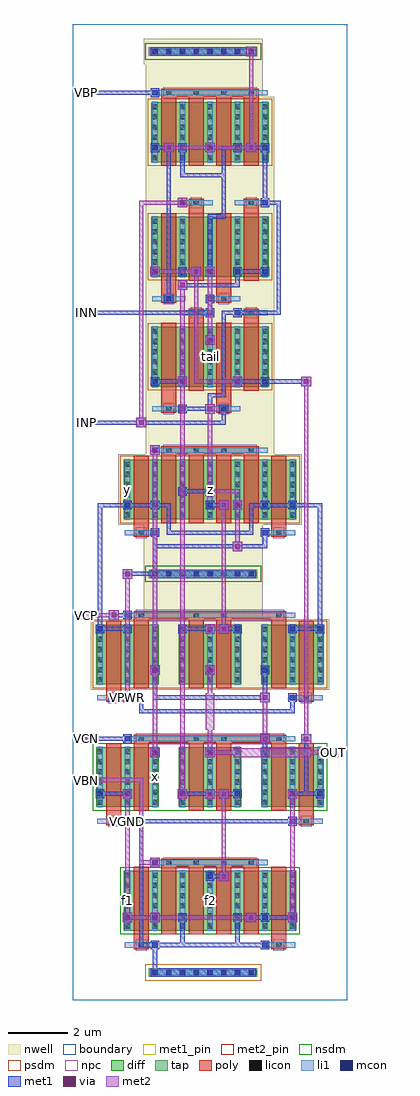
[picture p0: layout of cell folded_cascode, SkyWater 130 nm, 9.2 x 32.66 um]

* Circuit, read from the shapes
.subckt folded_cascode INN INP OUT VBN VBP VCN VCP VGND VPWR f1 f2 tail x y z
XM1 f1 VGND f1 VGND sky130_fd_pr__nfet_01v8 w=2 l=0.5 m=4
XM2 x VCN f1 VGND sky130_fd_pr__nfet_01v8 w=2 l=0.5 m=2
XM3 VGND VBN f1 VGND sky130_fd_pr__nfet_01v8 w=2 l=0.5 m=2
XM4 f2 VBN VGND VGND sky130_fd_pr__nfet_01v8 w=2 l=0.5 m=2
XM5 OUT VCN f2 VGND sky130_fd_pr__nfet_01v8 w=2 l=0.5 m=2
XM6 y VPWR y VPWR sky130_fd_pr__pfet_01v8 w=2 l=0.5 m=4
XM7 x VCP y VPWR sky130_fd_pr__pfet_01v8 w=2 l=0.5 m=2
XM8 VPWR x y VPWR sky130_fd_pr__pfet_01v8 w=2 l=0.5 m=2
XM9 f2 VPWR f2 VPWR sky130_fd_pr__pfet_01v8 w=2 l=0.5 m=2
XM10 f1 VPWR f1 VPWR sky130_fd_pr__pfet_01v8 w=2 l=0.5 m=2
XM11 tail VBP VPWR VPWR sky130_fd_pr__pfet_01v8 w=2 l=0.5 m=4
XM12 OUT VCP z VPWR sky130_fd_pr__pfet_01v8 w=2 l=0.5 m=2
XM13 z x VPWR VPWR sky130_fd_pr__pfet_01v8 w=2 l=0.5 m=2
XM14 tail INN f2 VPWR sky130_fd_pr__pfet_01v8 w=2 l=0.5 m=2
XM15 tail INP f1 VPWR sky130_fd_pr__pfet_01v8 w=2 l=0.5 m=2
.ends

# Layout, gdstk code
import gdstk
lib = gdstk.Library(unit=1e-6, precision=1e-09)
def R(c, l, rs):  # rectangles x0, y0, x1, y1
    for r in rs: c.add(gdstk.rectangle(r[:2], r[2:], *l))
def A(c, l, x, y, w, h, nx, ny, dx, dy):  # array of equal rectangles
    R(c, l, [(x+i*dx, y+j*dy, x+i*dx+w, y+j*dy+h) for i in range(nx) for j in range(ny)])
nwell = (64, 20)
diff = (65, 20)
tap = (65, 44)
poly = (66, 20)
licon = (66, 44)
li1 = (67, 20)
mcon = (67, 44)
met1_pin = (68, 16)
met1 = (68, 20)
via = (68, 44)
met2_pin = (69, 16)
met2 = (69, 20)
nsdm = (93, 44)
psdm = (94, 20)
npc = (95, 20)
boundary = (235, 4)

folded_cascode = lib.new_cell('folded_cascode')
R(folded_cascode, nwell, [(0.615,10.38,8.585,12.74), (2.375,12.74,6.365,15.9), (1.535,15.9,7.665,18.26), (2.455,18.26,6.745,30.22), (2.455,30.22,6.365,31.32), (2.375,31.32,6.365,32.16)])
A(folded_cascode, diff, 0.795, 6.465, 2.09, 2, 3, 2, 2.76, 4.095)
R(folded_cascode, diff, [(1.715,2.325,7.485,4.325), (1.715,16.08,7.485,18.08), (2.635,20.525,6.565,22.525), (2.635,24.205,6.565,26.205), (2.635,28.04,6.565,30.04)])
R(folded_cascode, tap, [(2.555,0.775,6.185,1.065), (2.555,14.115,6.185,14.405), (2.555,31.595,6.185,31.885)])
A(folded_cascode, poly, 2.97, 2.195, 0.5, 2.405, 4, 1, 0.92, 0)
A(folded_cascode, poly, 2.97, 15.95, 0.5, 2.45, 4, 2, 0.92, 11.96)
R(folded_cascode, poly, [(2.05,1.705,2.55,1.975), (6.65,1.705,7.15,1.975), (2.05,1.84,2.55,4.455), (6.65,1.84,7.15,4.455), (2.97,4.465,6.23,4.735), (1.13,5.845,1.63,6.115), (7.57,5.845,8.07,6.115), (1.13,5.98,1.63,8.595), (7.57,5.98,8.07,8.595), (2.05,6.335,2.55,8.74), (3.89,6.335,4.39,8.74), (4.81,6.335,5.31,8.74), (6.65,6.335,7.15,8.74), (2.05,8.605,7.15,8.875), (1.13,9.985,1.63,10.255), (7.57,9.985,8.07,10.255), (1.13,10.12,1.63,12.69), (7.57,10.12,8.07,12.69), (2.05,10.43,2.55,12.88), (3.89,10.43,4.39,12.88), (4.81,10.43,5.31,12.88), (6.65,10.43,7.15,12.88), (2.05,12.745,7.15,13.015), (2.05,15.505,2.55,15.775), (6.65,15.505,7.15,15.775), (2.05,15.64,2.55,18.21), (6.65,15.64,7.15,18.21), (2.97,18.265,6.23,18.535), (2.97,19.645,3.47,19.915), (4.81,19.645,5.31,19.915), (2.97,19.78,3.47,22.655), (4.81,19.78,5.31,22.655), (3.89,20.395,4.39,23), (5.73,20.395,6.23,23), (3.89,22.865,4.39,23.135), (5.73,22.865,6.23,23.135), (2.97,23.325,3.47,23.595), (4.81,23.325,5.31,23.595), (2.97,23.46,3.47,26.335), (4.81,23.46,5.31,26.335), (3.89,24.075,4.39,26.68), (5.73,24.075,6.23,26.68), (3.89,26.545,4.39,26.815), (5.73,26.545,6.23,26.815), (2.97,30.225,6.23,30.495)])
A(folded_cascode, licon, 2.675, 0.835, 0.17, 0.17, 8, 2, 0.46, 13.34)
A(folded_cascode, licon, 1.755, 2.39, 0.17, 0.17, 7, 6, 0.92, 0.34)
A(folded_cascode, licon, 3.135, 4.515, 0.17, 0.17, 4, 2, 0.92, 13.8)
A(folded_cascode, licon, 0.835, 6.53, 0.17, 0.17, 9, 6, 0.92, 0.34)
A(folded_cascode, licon, 0.835, 10.625, 0.17, 0.17, 9, 6, 0.92, 0.34)
A(folded_cascode, licon, 1.755, 16.145, 0.17, 0.17, 7, 6, 0.92, 0.34)
A(folded_cascode, licon, 2.675, 20.59, 0.17, 0.17, 5, 6, 0.92, 0.34)
A(folded_cascode, licon, 2.675, 24.27, 0.17, 0.17, 5, 6, 0.92, 0.34)
A(folded_cascode, licon, 2.675, 28.105, 0.17, 0.17, 5, 6, 0.92, 0.34)
A(folded_cascode, licon, 3.135, 30.275, 0.17, 0.17, 4, 1, 0.92, 0)
A(folded_cascode, licon, 2.675, 31.655, 0.17, 0.17, 8, 1, 0.46, 0)
R(folded_cascode, licon, [(2.215,1.755,2.385,1.925), (6.815,1.755,6.985,1.925), (1.295,5.895,1.465,6.065), (7.735,5.895,7.905,6.065), (2.215,8.655,2.385,8.825), (4.055,8.655,4.225,8.825), (4.975,8.655,5.145,8.825), (6.815,8.655,6.985,8.825), (1.295,10.035,1.465,10.205), (7.735,10.035,7.905,10.205), (2.215,12.795,2.385,12.965), (4.055,12.795,4.225,12.965), (4.975,12.795,5.145,12.965), (6.815,12.795,6.985,12.965), (2.215,15.555,2.385,15.725), (6.815,15.555,6.985,15.725), (3.135,19.695,3.305,19.865), (4.975,19.695,5.145,19.865), (4.055,22.915,4.225,23.085), (5.895,22.915,6.065,23.085), (3.135,23.375,3.305,23.545), (4.975,23.375,5.145,23.545), (4.055,26.595,4.225,26.765), (5.895,26.595,6.065,26.765)])
A(folded_cascode, li1, 1.755, 2.31, 0.17, 2.03, 7, 2, 0.92, 13.755)
A(folded_cascode, li1, 0.835, 6.45, 0.17, 2.03, 9, 2, 0.92, 4.095)
A(folded_cascode, li1, 2.675, 20.51, 0.17, 2.03, 5, 2, 0.92, 3.68)
A(folded_cascode, li1, 2.675, 28.025, 0.17, 2.03, 5, 1, 0.92, 0)
R(folded_cascode, li1, [(2.595,0.835,6.145,1.005), (1.755,1.755,2.845,1.925), (6.355,1.755,7.445,1.925), (2.675,4.515,6.525,4.685), (0.835,5.895,1.925,6.065), (7.275,5.895,8.365,6.065), (1.755,8.655,7.445,8.825), (0.835,10.035,1.925,10.205), (7.275,10.035,8.365,10.205), (1.755,12.795,7.445,12.965), (2.595,14.175,6.145,14.345), (1.755,15.555,2.845,15.725), (6.355,15.555,7.445,15.725), (2.675,18.315,6.525,18.485), (2.675,19.695,3.765,19.865), (4.515,19.695,5.605,19.865), (3.595,22.915,4.685,23.085), (5.435,22.915,6.525,23.085), (2.675,23.375,3.765,23.545), (4.515,23.375,5.605,23.545), (3.595,26.595,4.685,26.765), (5.435,26.595,6.525,26.765), (2.675,30.275,6.525,30.445), (2.595,31.655,6.145,31.825)])
A(folded_cascode, mcon, 2.675, 0.835, 0.17, 0.17, 8, 2, 0.46, 13.34)
A(folded_cascode, mcon, 1.755, 2.675, 0.17, 0.17, 3, 1, 0.92, 0)
A(folded_cascode, mcon, 5.435, 2.675, 0.17, 0.17, 3, 1, 0.92, 0)
A(folded_cascode, mcon, 1.755, 6.815, 0.17, 0.17, 4, 2, 1.84, 5.52)
A(folded_cascode, mcon, 2.675, 8.195, 0.17, 0.17, 3, 2, 1.84, 2.76)
A(folded_cascode, mcon, 4.515, 16.475, 0.17, 0.17, 4, 1, 0.92, 0)
A(folded_cascode, mcon, 2.675, 24.295, 0.17, 0.17, 5, 2, 0.92, 4.14)
A(folded_cascode, mcon, 2.675, 31.655, 0.17, 0.17, 8, 1, 0.46, 0)
R(folded_cascode, mcon, [(2.675,1.755,2.845,1.925), (6.355,1.755,6.525,1.925), (4.515,4.055,4.685,4.225), (2.675,4.515,2.845,4.685), (1.755,5.895,1.925,6.065), (7.275,5.895,7.445,6.065), (0.835,6.815,1.005,6.985), (8.195,6.815,8.365,6.985), (1.755,8.655,1.925,8.825), (1.755,10.035,1.925,10.205), (7.275,10.035,7.445,10.205), (0.835,12.335,1.005,12.505), (8.195,12.335,8.365,12.505), (1.755,12.795,1.925,12.965), (2.675,15.555,2.845,15.725), (6.355,15.555,6.525,15.725), (1.755,16.475,1.925,16.645), (2.675,16.475,2.845,16.645), (3.595,16.935,3.765,17.105), (2.675,18.315,2.845,18.485), (3.595,19.695,3.765,19.865), (4.975,19.695,5.145,19.865), (2.675,20.615,2.845,20.785), (3.595,20.615,3.765,20.785), (5.435,20.615,5.605,20.785), (6.355,20.615,6.525,20.785), (4.515,21.995,4.685,22.165), (4.515,22.915,4.685,23.085), (5.435,22.915,5.605,23.085), (3.135,23.375,3.305,23.545), (4.515,23.375,4.685,23.545), (3.595,26.595,3.765,26.765), (6.355,26.595,6.525,26.765), (2.675,30.275,2.845,30.445)])
R(folded_cascode, met1_pin, [(1.695,5.835,1.985,6.125), (1.695,9.975,1.985,10.265)])
A(folded_cascode, met1, 1.695, 2.615, 0.29, 0.29, 3, 1, 0.92, 0)
A(folded_cascode, met1, 5.375, 2.615, 0.29, 0.29, 3, 1, 0.92, 0)
A(folded_cascode, met1, 1.695, 6.755, 0.29, 0.29, 4, 2, 1.84, 5.52)
A(folded_cascode, met1, 2.615, 8.135, 0.29, 0.29, 3, 2, 1.84, 2.76)
A(folded_cascode, met1, 4.455, 16.415, 0.29, 0.29, 4, 1, 0.92, 0)
A(folded_cascode, met1, 4.44, 19.62, 0.32, 0.32, 1, 3, 0, 2.3)
A(folded_cascode, met1, 2.615, 24.235, 0.29, 0.29, 5, 2, 0.92, 4.14)
A(folded_cascode, met1, 3.06, 28.36, 0.32, 0.32, 3, 1, 1.38, 0)
R(folded_cascode, met1, [(2.615,0.775,6.125,1.065), (2.69,0.85,2.83,1.91), (2.69,0.85,2.83,0.99), (2.615,1.695,2.905,1.985), (6.295,1.695,6.585,1.985), (2.23,1.77,2.37,6.05), (2.23,1.77,2.83,1.91), (2.69,1.77,3.75,1.91), (3.61,1.77,6.51,1.91), (3.61,1.77,3.75,2.83), (5.45,1.77,5.59,2.83), (1.68,2.6,2,2.92), (2.6,2.6,2.92,2.92), (5.82,2.6,6.14,2.92), (7.2,2.6,7.52,2.92), (5.91,2.69,6.51,2.83), (6.37,2.69,7.43,2.83), (4.9,3.98,5.22,4.3), (4.455,3.995,4.745,4.285), (4.53,4.07,5.13,4.21), (2.6,4.44,2.92,4.76), (2.615,4.455,2.905,4.745), (1.695,5.835,1.985,6.125), (7.215,5.835,7.505,6.125), (1.77,5.91,2.37,6.05), (2.23,5.91,7.43,6.05), (1.68,6.74,2,7.06), (3.52,6.74,3.84,7.06), (4.44,6.74,4.76,7.06), (4.9,6.74,5.22,7.06), (7.2,6.74,7.52,7.06), (0.775,6.755,1.065,7.045), (8.135,6.755,8.425,7.045), (0.85,6.83,1.91,6.97), (3.61,6.83,4.67,6.97), (4.99,6.83,5.59,6.97), (7.29,6.83,8.35,6.97), (7.75,6.83,7.89,8.81), (2.6,8.12,2.92,8.44), (4.44,8.12,4.76,8.44), (6.37,8.21,6.51,8.81), (0.3,8.58,0.62,8.9), (6.28,8.58,6.6,8.9), (7.66,8.58,7.98,8.9), (1.695,8.595,1.985,8.885), (0.39,8.67,1.91,8.81), (2.23,9.59,7.43,9.73), (2.23,9.59,2.37,10.19), (7.29,9.59,7.43,10.19), (1.68,9.96,2,10.28), (6.28,9.96,6.6,10.28), (1.695,9.975,1.985,10.265), (7.215,9.975,7.505,10.265), (1.77,10.05,2.37,10.19), (2.69,10.05,2.83,11.11), (2.69,10.05,6.51,10.19), (6.37,10.05,6.51,11.11), (2.6,10.88,2.92,11.2), (4.44,10.88,4.76,11.2), (4.44,12.26,4.76,12.58), (4.9,12.26,5.22,12.58), (0.775,12.275,1.065,12.565), (8.135,12.275,8.425,12.565), (0.85,12.35,1.91,12.49), (0.85,12.35,0.99,16.63), (3.61,12.35,4.67,12.49), (4.99,12.35,5.59,12.49), (7.29,12.35,8.35,12.49), (8.21,12.35,8.35,16.63), (1.22,12.72,1.54,13.04), (1.695,12.735,1.985,13.025), (1.31,12.81,1.91,12.95), (1.68,14.1,2,14.42), (2.615,14.115,6.125,14.405), (1.77,14.19,2.83,14.33), (2.69,14.19,2.83,14.33), (2.69,14.19,2.83,15.71), (5.36,15.02,5.68,15.34), (2.69,15.11,6.51,15.25), (6.37,15.11,6.51,15.71), (2.615,15.495,2.905,15.785), (6.295,15.495,6.585,15.785), (3.15,15.57,6.05,15.71), (3.15,15.57,3.29,16.63), (5.91,15.57,6.05,16.63), (4.9,16.4,5.22,16.72), (5.36,16.4,5.68,16.72), (1.695,16.415,1.985,16.705), (2.615,16.415,2.905,16.705), (0.85,16.49,1.91,16.63), (1.77,16.49,2.83,16.63), (2.69,16.49,3.29,16.63), (4.53,16.49,5.13,16.63), (5.91,16.49,6.51,16.63), (6.37,16.49,7.43,16.63), (7.29,16.49,8.35,16.63), (4.44,16.86,4.76,17.18), (3.535,16.875,3.825,17.165), (3.61,16.95,4.67,17.09), (2.6,18.24,2.92,18.56), (2.615,18.255,2.905,18.545), (0.3,19.16,0.62,19.48), (2.14,19.16,2.46,19.48), (0.39,19.25,5.13,19.39), (4.99,19.25,5.13,19.85), (3.535,19.635,3.825,19.925), (4.915,19.635,5.205,19.925), (3.61,19.71,4.67,19.85), (4.53,19.71,4.67,20.31), (4.53,20.17,5.13,20.31), (4.99,20.17,5.13,23.07), (3.52,20.54,3.84,20.86), (5.36,20.54,5.68,20.86), (7.66,20.54,7.98,20.86), (2.615,20.555,2.905,20.845), (3.535,20.555,3.825,20.845), (5.375,20.555,5.665,20.845), (6.295,20.555,6.585,20.845), (2.69,20.63,3.75,20.77), (5.45,20.63,6.51,20.77), (6.37,20.63,7.89,20.77), (4.455,21.935,4.745,22.225), (0.3,22.84,0.62,23.16), (4.455,22.855,4.745,23.145), (5.375,22.855,5.665,23.145), (0.39,22.93,4.67,23.07), (4.53,22.93,4.67,23.53), (4.99,22.93,5.59,23.07), (5.45,22.93,6.97,23.07), (6.83,22.93,6.97,26.75), (3.075,23.315,3.365,23.605), (4.455,23.315,4.745,23.605), (3.15,23.39,3.29,28.59), (3.52,23.76,3.84,24.08), (3.61,23.85,5.59,23.99), (5.45,23.85,5.59,24.45), (2.6,24.22,2.92,24.54), (3.98,24.22,4.3,24.54), (3.61,24.31,4.21,24.45), (4.53,24.31,4.67,26.29), (5.45,24.31,6.51,24.45), (4.53,26.15,5.13,26.29), (4.99,26.15,5.13,28.59), (3.52,26.52,3.84,26.84), (3.535,26.535,3.825,26.825), (6.295,26.535,6.585,26.825), (6.37,26.61,6.97,26.75), (6.37,26.61,6.51,28.59), (3.61,27.53,5.13,27.67), (3.61,27.53,3.75,28.59), (2.69,28.45,3.29,28.59), (4.99,28.45,5.59,28.59), (5.91,28.45,6.51,28.59), (0.3,30.2,0.62,30.52), (2.615,30.215,2.905,30.505), (0.39,30.29,2.83,30.43), (5.82,31.58,6.14,31.9), (2.615,31.595,6.125,31.885), (5.91,31.67,6.05,31.81)])
A(folded_cascode, via, 4.525, 19.705, 0.15, 0.15, 1, 3, 0, 2.3)
A(folded_cascode, via, 3.145, 28.445, 0.15, 0.15, 3, 1, 1.38, 0)
R(folded_cascode, via, [(1.765,2.685,1.915,2.835), (2.685,2.685,2.835,2.835), (5.905,2.685,6.055,2.835), (7.285,2.685,7.435,2.835), (4.985,4.065,5.135,4.215), (2.685,4.525,2.835,4.675), (1.765,6.825,1.915,6.975), (3.605,6.825,3.755,6.975), (4.525,6.825,4.675,6.975), (4.985,6.825,5.135,6.975), (7.285,6.825,7.435,6.975), (2.685,8.205,2.835,8.355), (4.525,8.205,4.675,8.355), (0.385,8.665,0.535,8.815), (6.365,8.665,6.515,8.815), (7.745,8.665,7.895,8.815), (1.765,10.045,1.915,10.195), (6.365,10.045,6.515,10.195), (2.685,10.965,2.835,11.115), (4.525,10.965,4.675,11.115), (4.525,12.345,4.675,12.495), (4.985,12.345,5.135,12.495), (1.305,12.805,1.455,12.955), (1.765,14.185,1.915,14.335), (5.445,15.105,5.595,15.255), (4.985,16.485,5.135,16.635), (5.445,16.485,5.595,16.635), (4.525,16.945,4.675,17.095), (2.685,18.325,2.835,18.475), (0.385,19.245,0.535,19.395), (2.225,19.245,2.375,19.395), (3.605,20.625,3.755,20.775), (5.445,20.625,5.595,20.775), (7.745,20.625,7.895,20.775), (0.385,22.925,0.535,23.075), (3.605,23.845,3.755,23.995), (2.685,24.305,2.835,24.455), (4.065,24.305,4.215,24.455), (3.605,26.605,3.755,26.755), (0.385,30.285,0.535,30.435), (5.905,31.665,6.055,31.815)])
R(folded_cascode, met2_pin, [(0.31,7.21,0.61,7.51), (8.59,8.13,8.89,8.43), (0.31,8.59,0.61,8.89), (0.31,12.73,0.61,13.03), (0.31,19.17,0.61,19.47), (0.31,22.85,0.61,23.15), (0.31,30.21,0.61,30.51)])
A(folded_cascode, met2, 4.44, 19.62, 0.32, 0.32, 1, 3, 0, 2.3)
A(folded_cascode, met2, 3.06, 28.36, 0.32, 0.32, 3, 1, 1.38, 0)
R(folded_cascode, met2, [(1.68,2.6,2,2.92), (2.6,2.6,2.92,2.92), (5.82,2.6,6.14,2.92), (7.2,2.6,7.52,2.92), (1.77,2.69,2.83,2.83), (1.77,2.69,1.91,6.97), (2.69,2.69,6.05,2.83), (7.29,2.69,7.43,6.97), (4.9,3.98,5.22,4.3), (4.99,4.07,5.13,6.97), (2.6,4.44,2.92,4.76), (2.23,4.53,2.83,4.67), (2.23,4.53,2.37,7.43), (1.68,6.74,2,7.06), (3.52,6.74,3.84,7.06), (4.44,6.74,4.76,7.06), (4.9,6.74,5.22,7.06), (7.2,6.74,7.52,7.06), (3.61,6.83,3.75,20.77), (4.53,6.83,5.13,6.97), (0.31,7.21,0.61,7.51), (0.39,7.29,0.53,7.43), (0.39,7.29,2.37,7.43), (2.6,8.12,2.92,8.44), (4.44,8.12,4.76,8.44), (5.37,8.13,7.97,8.43), (8.59,8.13,8.89,8.43), (2.69,8.21,2.83,11.11), (4.53,8.21,4.67,9.27), (4.53,8.21,5.59,8.35), (7.75,8.21,8.81,8.35), (8.67,8.21,8.81,8.35), (0.3,8.58,0.62,8.9), (6.28,8.58,6.6,8.9), (7.66,8.58,7.98,8.9), (0.31,8.59,0.61,8.89), (0.39,8.67,0.53,8.81), (6.37,8.67,6.51,10.19), (7.75,8.67,7.89,20.77), (4.45,9.05,4.75,10.27), (1.68,9.96,2,10.28), (6.28,9.96,6.6,10.28), (1.77,10.05,1.91,14.33), (4.53,10.05,4.67,11.11), (2.6,10.88,2.92,11.2), (4.44,10.88,4.76,11.2), (2.69,10.97,2.83,18.47), (4.44,12.26,4.76,12.58), (4.9,12.26,5.22,12.58), (4.53,12.35,5.13,12.49), (4.99,12.35,5.13,16.63), (1.22,12.72,1.54,13.04), (0.31,12.73,0.61,13.03), (0.39,12.81,0.53,12.95), (0.39,12.81,1.45,12.95), (1.68,14.1,2,14.42), (5.36,15.02,5.68,15.34), (5.45,15.11,5.59,16.63), (4.9,16.4,5.22,16.72), (5.36,16.4,5.68,16.72), (5.45,16.49,5.59,17.09), (4.44,16.86,4.76,17.18), (4.53,16.95,5.59,17.09), (4.53,16.95,4.67,19.85), (2.6,18.24,2.92,18.56), (0.3,19.16,0.62,19.48), (2.14,19.16,2.46,19.48), (0.31,19.17,0.61,19.47), (0.39,19.25,0.53,19.39), (2.23,19.25,2.37,26.75), (3.52,20.54,3.84,20.86), (5.36,20.54,5.68,20.86), (7.66,20.54,7.98,20.86), (3.61,20.63,3.75,23.99), (4.07,20.63,5.59,20.77), (4.07,20.63,4.21,24.45), (4.53,22.01,4.67,24.45), (0.3,22.84,0.62,23.16), (0.31,22.85,0.61,23.15), (0.39,22.93,0.53,23.07), (3.52,23.76,3.84,24.08), (2.6,24.22,2.92,24.54), (3.98,24.22,4.3,24.54), (2.69,24.31,4.21,24.45), (3.52,26.52,3.84,26.84), (2.23,26.61,3.75,26.75), (3.15,28.45,4.67,28.59), (4.53,28.45,6.05,28.59), (5.91,28.45,6.05,31.81), (0.3,30.2,0.62,30.52), (0.31,30.21,0.61,30.51), (0.39,30.29,0.53,30.43), (5.82,31.58,6.14,31.9)])
R(folded_cascode, nsdm, [(1.59,2.2,7.61,4.45), (0.67,6.34,8.53,8.59), (2.43,13.99,6.31,14.53), (2.43,31.47,6.31,32.01)])
R(folded_cascode, psdm, [(2.43,0.65,6.31,1.19), (0.67,10.435,8.53,12.685), (1.59,15.955,7.61,18.205), (2.51,20.4,6.69,22.65), (2.51,24.08,6.69,26.33), (2.51,27.915,6.69,30.165)])
R(folded_cascode, npc, [(2.115,1.655,2.485,2.025), (6.715,1.655,7.085,2.025), (3.035,4.415,6.165,4.785), (1.195,5.795,1.565,6.165), (7.635,5.795,8.005,6.165), (2.115,8.555,7.085,8.925), (1.195,9.935,1.565,10.305), (7.635,9.935,8.005,10.305), (2.115,12.695,7.085,13.065), (2.115,15.455,2.485,15.825), (6.715,15.455,7.085,15.825), (3.035,18.215,6.165,18.585), (3.035,19.595,3.405,19.965), (4.875,19.595,5.245,19.965), (3.955,22.815,4.325,23.185), (5.795,22.815,6.165,23.185), (3.035,23.275,3.405,23.645), (4.875,23.275,5.245,23.645), (3.955,26.495,4.325,26.865), (5.795,26.495,6.165,26.865), (3.035,30.175,6.165,30.545)])
R(folded_cascode, boundary, [(0,0,9.2,32.66)])
folded_cascode.add(gdstk.Label('f1', (1.84,3.325), layer=67, texttype=5))
folded_cascode.add(gdstk.Label('f2', (4.6,3.325), layer=67, texttype=5))
folded_cascode.add(gdstk.Label('x', (2.76,7.465), layer=67, texttype=5))
folded_cascode.add(gdstk.Label('y', (1.84,17.08), layer=67, texttype=5))
folded_cascode.add(gdstk.Label('z', (4.6,17.08), layer=67, texttype=5))
folded_cascode.add(gdstk.Label('tail', (4.6,21.525), layer=67, texttype=5))
folded_cascode.add(gdstk.Label('VPWR', (1.84,10.12), layer=68, texttype=5))
folded_cascode.add(gdstk.Label('VGND', (1.84,5.98), layer=68, texttype=5))
folded_cascode.add(gdstk.Label('INP', (0.46,19.32), layer=69, texttype=5))
folded_cascode.add(gdstk.Label('INN', (0.46,23), layer=69, texttype=5))
folded_cascode.add(gdstk.Label('VBP', (0.46,30.36), layer=69, texttype=5))
folded_cascode.add(gdstk.Label('VBN', (0.46,7.36), layer=69, texttype=5))
folded_cascode.add(gdstk.Label('VCN', (0.46,8.74), layer=69, texttype=5))
folded_cascode.add(gdstk.Label('VCP', (0.46,12.88), layer=69, texttype=5))
folded_cascode.add(gdstk.Label('OUT', (8.74,8.28), layer=69, texttype=5))
folded_cascode.add(gdstk.Label('VPWR', (1.84,10.12), layer=68, texttype=16))
folded_cascode.add(gdstk.Label('VGND', (1.84,5.98), layer=68, texttype=16))
folded_cascode.add(gdstk.Label('INP', (0.46,19.32), layer=69, texttype=16))
folded_cascode.add(gdstk.Label('INN', (0.46,23), layer=69, texttype=16))
folded_cascode.add(gdstk.Label('VBP', (0.46,30.36), layer=69, texttype=16))
folded_cascode.add(gdstk.Label('VBN', (0.46,7.36), layer=69, texttype=16))
folded_cascode.add(gdstk.Label('VCN', (0.46,8.74), layer=69, texttype=16))
folded_cascode.add(gdstk.Label('VCP', (0.46,12.88), layer=69, texttype=16))
folded_cascode.add(gdstk.Label('OUT', (8.74,8.28), layer=69, texttype=16))

lib.write_gds('folded_cascode.gds')
